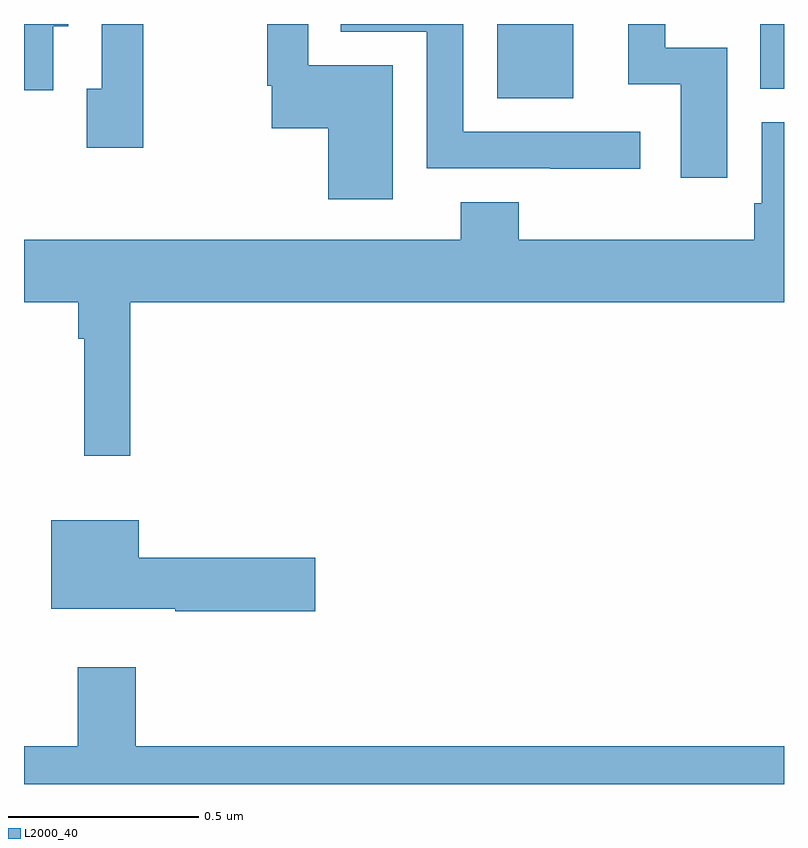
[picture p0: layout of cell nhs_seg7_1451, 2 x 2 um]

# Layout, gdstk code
import gdstk
lib = gdstk.Library(unit=1e-6, precision=1e-09)
def R(c, l, rs):  # rectangles x0, y0, x1, y1
    for r in rs: c.add(gdstk.rectangle(r[:2], r[2:], *l))
def P(c, l, *ps):  # polygons
    for p in ps: c.add(gdstk.Polygon(p, *l))
L2000_40 = (2000, 40)

nhs_seg7_1451 = lib.new_cell('nhs_seg7_1451')
R(nhs_seg7_1451, L2000_40, [(132.245,1015.805,132.445,1016), (132.938,1015.83,133,1016)])
P(nhs_seg7_1451, L2000_40, [(131.314,1016),(131.205,1016),(131.205,1015.83),(131.165,1015.83),(131.165,1015.674),(131.314,1015.674)],
  [(131.971,1015.891),(131.748,1015.891),(131.748,1016),(131.64,1016),(131.64,1015.837),(131.652,1015.837),(131.652,1015.726),(131.801,1015.726),(131.801,1015.539),(131.971,1015.539)],
  [(131.077,1015.994),(131.116,1015.994),(131.116,1016),(131,1016),(131,1015.826),(131.077,1015.826)],
  [(132.622,1015.716),(132.156,1015.716),(132.156,1016),(131.833,1016),(131.833,1015.979),(132.06,1015.979),(132.06,1015.62),(132.385,1015.62),(132.385,1015.619),(132.622,1015.619)],
  [(132.85,1015.938),(132.688,1015.938),(132.688,1016),(132.59,1016),(132.59,1015.842),(132.728,1015.842),(132.728,1015.596),(132.85,1015.596)],
  [(131.279,1015.268),(133,1015.268),(133,1015.741),(132.942,1015.741),(132.942,1015.528),(132.922,1015.528),(132.922,1015.432),(132.302,1015.432),(132.302,1015.531),(132.149,1015.531),(132.149,1015.432),(131,1015.432),(131,1015.268),(131.143,1015.268),(131.143,1015.172),(131.158,1015.172),(131.158,1014.864),(131.279,1014.864)],
  [(131.767,1014.596),(131.302,1014.596),(131.302,1014.694),(131.072,1014.694),(131.072,1014.461),(131.398,1014.461),(131.398,1014.454),(131.767,1014.454)],
  [(133,1014.1),(131.294,1014.1),(131.294,1014.307),(131.141,1014.307),(131.141,1014.1),(131,1014.1),(131,1014),(133,1014)])

lib.write_gds('nhs_seg7_1451.gds')
